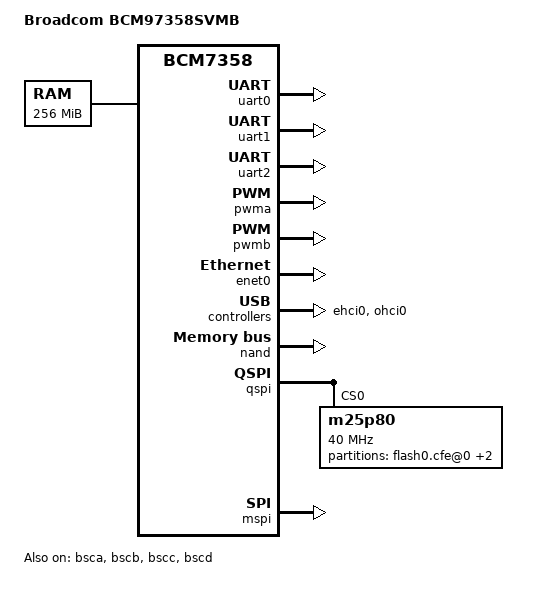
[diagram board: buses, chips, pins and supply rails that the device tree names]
/dts-v1/;

/include/ "bcm7358.dtsi"
/include/ "bcm97xxx-nand-cs1-bch4.dtsi"

/ {
	compatible = "brcm,bcm97358svmb", "brcm,bcm7358";
	model = "Broadcom BCM97358SVMB";

	memory@0 {
		device_type = "memory";
		reg = <0x00000000 0x10000000>;
	};

	chosen {
		bootargs = "console=ttyS0,115200";
		stdout-path = &uart0;
	};
};

&uart0 {
	status = "okay";
};

&uart1 {
	status = "okay";
};

&uart2 {
	status = "okay";
};

&bsca {
	status = "okay";
};

&bscb {
	status = "okay";
};

&bscc {
	status = "okay";
};

&bscd {
	status = "okay";
};

&pwma {
	status = "okay";
};

&pwmb {
	status = "okay";
};

&enet0 {
	status = "okay";
};

&ehci0 {
	status = "okay";
};

&ohci0 {
	status = "okay";
};

&nand {
	status = "okay";
};

&qspi {
	status = "okay";

	m25p80@0 {
		compatible = "m25p80";
		reg = <0>;
		spi-max-frequency = <0x2625a00>;
		spi-cpol;
		spi-cpha;
		use-bspi;
		m25p,fast-read;

		partitions {
			compatible = "fixed-partitions";
			#address-cells = <1>;
			#size-cells = <1>;

			flash0.cfe@0 {
				reg = <0x0 0xa0000>;
			};

			flash0.nvram@a0000 {
				reg = <0xa0000 0x10000>;
			};

			flash0.mac@b0000 {
				reg = <0xb0000 0x10000>;
			};
		};
	};
};

&mspi {
	status = "okay";
};
